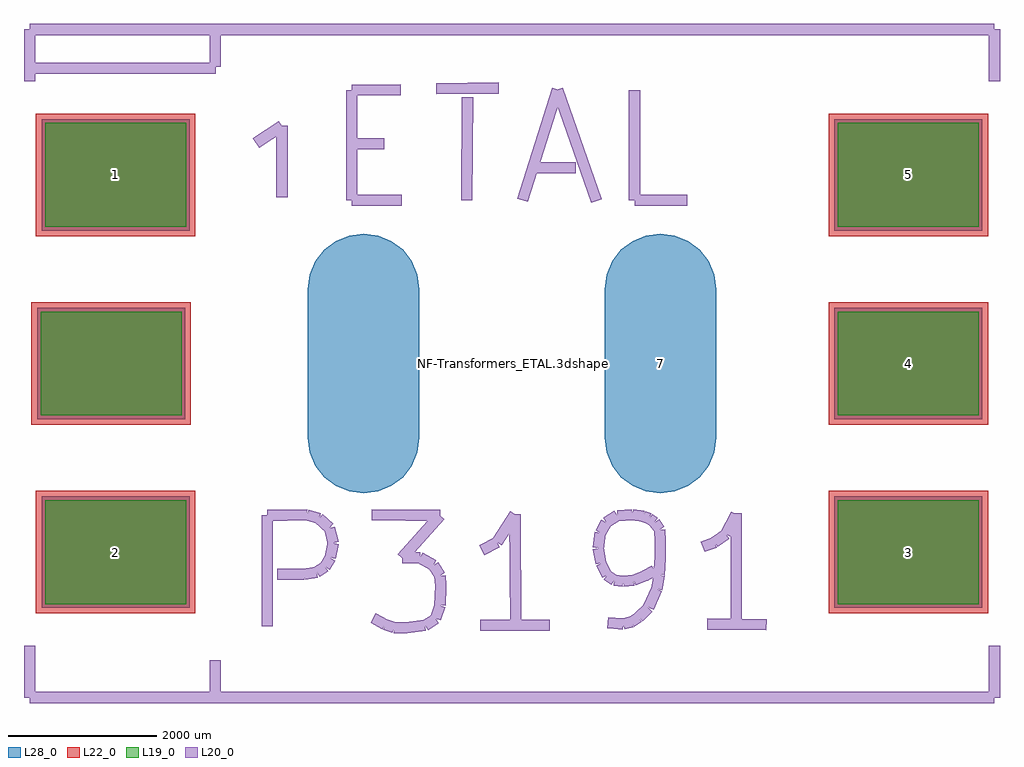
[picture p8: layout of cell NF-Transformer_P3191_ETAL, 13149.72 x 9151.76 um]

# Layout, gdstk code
import gdstk
lib = gdstk.Library(unit=1e-6, precision=1e-09)
def R(c, l, rs):  # rectangles x0, y0, x1, y1
    for r in rs: c.add(gdstk.rectangle(r[:2], r[2:], *l))
def A(c, l, x, y, w, h, nx, ny, dx, dy):  # array of equal rectangles
    R(c, l, [(x+i*dx, y+j*dy, x+i*dx+w, y+j*dy+h) for i in range(nx) for j in range(ny)])
def P(c, l, *ps):  # polygons
    for p in ps: c.add(gdstk.Polygon(p, *l))
L19_0 = (19, 0)
L20_0 = (20, 0)
L22_0 = (22, 0)
L28_0 = (28, 0)

nf_transformer_p3191_eta = lib.new_cell('NF-Transformer_P3191_ETAL')
A(nf_transformer_p3191_eta, L19_0, 4389.59, -3240.57, 1898.98, 1401.14, 1, 3, 0, 2540)
R(nf_transformer_p3191_eta, L19_0, [(-6288.57,-3240.57,-4389.59,-1839.43), (-6349.53,-700.57,-4450.55,700.57), (-6288.57,1839.43,-4389.59,3240.57)])
A(nf_transformer_p3191_eta, L22_0, 4264.59, -3365.57, 2148.98, 1651.14, 1, 3, 0, 2540)
R(nf_transformer_p3191_eta, L22_0, [(-6413.57,-3365.57,-4264.59,-1714.43), (-6474.53,-825.57,-4325.55,825.57), (-6413.57,1714.43,-4264.59,3365.57)])
A(nf_transformer_p3191_eta, L28_0, 4339.59, -3290.57, 1998.98, 1501.14, 1, 3, 0, 2540)
R(nf_transformer_p3191_eta, L28_0, [(-6338.57,-3290.57,-4339.59,-1789.43), (-6399.53,-750.57,-4400.55,750.57), (-6338.57,1789.43,-4339.59,3290.57)])
P(nf_transformer_p3191_eta, L28_0, [(-1998.98,-1750.06),(-1804.718,-1724.485),(-1623.695,-1649.503),(-1468.247,-1530.223),(-1348.967,-1374.775),(-1273.985,-1193.752),(-1248.41,-999.49),(-1248.41,999.49),(-1273.985,1193.752),(-1348.967,1374.775),(-1468.247,1530.223),(-1623.695,1649.503),(-1804.718,1724.485),(-1998.98,1750.06),(-2193.242,1724.485),(-2374.265,1649.503),(-2529.713,1530.223),(-2648.993,1374.775),(-2723.975,1193.752),(-2749.55,999.49),(-2749.55,-999.49),(-2723.975,-1193.752),(-2648.993,-1374.775),(-2529.713,-1530.223),(-2374.265,-1649.503),(-2193.242,-1724.485)],
  [(1998.98,-1750.06),(2193.242,-1724.485),(2374.265,-1649.503),(2529.713,-1530.223),(2648.993,-1374.775),(2723.975,-1193.752),(2749.55,-999.49),(2749.55,999.49),(2723.975,1193.752),(2648.993,1374.775),(2529.713,1530.223),(2374.265,1649.503),(2193.242,1724.485),(1998.98,1750.06),(1804.718,1724.485),(1623.695,1649.503),(1468.247,1530.223),(1348.967,1374.775),(1273.985,1193.752),(1248.41,999.49),(1248.41,-999.49),(1273.985,-1193.752),(1348.967,-1374.775),(1468.247,-1530.223),(1623.695,-1649.503),(1804.718,-1724.485)])
nf_transformer_p3191_eta.add(gdstk.FlexPath([(-6499.86,-4500.88),(6499.86,-4500.88)], 149.998, ends="flush", simple_path=True, layer=20, datatype=0))  # L20_0
nf_transformer_p3191_eta.add(gdstk.FlexPath([(6499.86,4500.88),(-6499.86,4500.88)], 149.998, ends="flush", simple_path=True, layer=20, datatype=0))  # L20_0
nf_transformer_p3191_eta.add(gdstk.FlexPath([(6499.86,4500.88),(6499.86,3799.84)], 149.998, ends="flush", simple_path=True, layer=20, datatype=0))  # L20_0
nf_transformer_p3191_eta.add(gdstk.FlexPath([(6499.86,-3799.84),(6499.86,-4500.88)], 149.998, ends="flush", simple_path=True, layer=20, datatype=0))  # L20_0
nf_transformer_p3191_eta.add(gdstk.FlexPath([(-6499.86,-3799.84),(-6499.86,-4500.88)], 149.998, ends="flush", simple_path=True, layer=20, datatype=0))  # L20_0
nf_transformer_p3191_eta.add(gdstk.FlexPath([(-6499.86,4500.88),(-6499.86,3799.84)], 149.998, ends="flush", simple_path=True, layer=20, datatype=0))  # L20_0
nf_transformer_p3191_eta.add(gdstk.FlexPath([(-2159,2199.64),(-1488.44,2199.64)], 149.998, ends="flush", simple_path=True, layer=20, datatype=0))  # L20_0
nf_transformer_p3191_eta.add(gdstk.FlexPath([(-2159,3680.46),(-2159,2199.64)], 149.998, ends="flush", simple_path=True, layer=20, datatype=0))  # L20_0
nf_transformer_p3191_eta.add(gdstk.FlexPath([(-1498.6,3690.62),(-2159,3680.46)], 149.998, ends="flush", simple_path=True, layer=20, datatype=0))  # L20_0
nf_transformer_p3191_eta.add(gdstk.FlexPath([(-2128.52,2959.1),(-1719.58,2959.1)], 149.998, ends="flush", simple_path=True, layer=20, datatype=0))  # L20_0
nf_transformer_p3191_eta.add(gdstk.FlexPath([(-1018.54,3700.78),(-177.8,3710.94)], 149.998, ends="flush", simple_path=True, layer=20, datatype=0))  # L20_0
nf_transformer_p3191_eta.add(gdstk.FlexPath([(-609.6,2199.64),(-599.44,3589.02)], 149.998, ends="flush", simple_path=True, layer=20, datatype=0))  # L20_0
nf_transformer_p3191_eta.add(gdstk.FlexPath([(612.14,3690.62),(1140.46,2189.48)], 149.998, ends="flush", simple_path=True, layer=20, datatype=0))  # L20_0
nf_transformer_p3191_eta.add(gdstk.FlexPath([(142.24,2199.64),(612.14,3690.62)], 149.998, ends="flush", simple_path=True, layer=20, datatype=0))  # L20_0
nf_transformer_p3191_eta.add(gdstk.FlexPath([(320.04,2639.06),(861.06,2639.06)], 149.998, ends="flush", simple_path=True, layer=20, datatype=0))  # L20_0
nf_transformer_p3191_eta.add(gdstk.FlexPath([(1651,2199.64),(2362.2,2199.64)], 149.998, ends="flush", simple_path=True, layer=20, datatype=0))  # L20_0
nf_transformer_p3191_eta.add(gdstk.FlexPath([(1651,3680.46),(1651,2199.64)], 149.998, ends="flush", simple_path=True, layer=20, datatype=0))  # L20_0
nf_transformer_p3191_eta.add(gdstk.FlexPath([(-2799.08,-2837.18),(-3159.76,-2837.18)], 149.998, ends="flush", simple_path=True, layer=20, datatype=0))  # L20_0
nf_transformer_p3191_eta.add(gdstk.FlexPath([(-2628.9,-2809.24),(-2799.08,-2837.18)], 149.998, ends="flush", simple_path=True, layer=20, datatype=0))  # L20_0
nf_transformer_p3191_eta.add(gdstk.FlexPath([(-2519.68,-2738.12),(-2628.9,-2809.24)], 149.998, ends="flush", simple_path=True, layer=20, datatype=0))  # L20_0
nf_transformer_p3191_eta.add(gdstk.FlexPath([(-2448.56,-2618.74),(-2519.68,-2738.12)], 149.998, ends="flush", simple_path=True, layer=20, datatype=0))  # L20_0
nf_transformer_p3191_eta.add(gdstk.FlexPath([(-2410.46,-2418.08),(-2448.56,-2618.74)], 149.998, ends="flush", simple_path=True, layer=20, datatype=0))  # L20_0
nf_transformer_p3191_eta.add(gdstk.FlexPath([(-2458.72,-2217.42),(-2410.46,-2418.08)], 149.998, ends="flush", simple_path=True, layer=20, datatype=0))  # L20_0
nf_transformer_p3191_eta.add(gdstk.FlexPath([(-2598.42,-2087.88),(-2458.72,-2217.42)], 149.998, ends="flush", simple_path=True, layer=20, datatype=0))  # L20_0
nf_transformer_p3191_eta.add(gdstk.FlexPath([(-2758.44,-2039.62),(-2598.42,-2087.88)], 149.998, ends="flush", simple_path=True, layer=20, datatype=0))  # L20_0
nf_transformer_p3191_eta.add(gdstk.FlexPath([(-3299.46,-2047.24),(-2758.44,-2039.62)], 149.998, ends="flush", simple_path=True, layer=20, datatype=0))  # L20_0
nf_transformer_p3191_eta.add(gdstk.FlexPath([(-3299.46,-3538.22),(-3299.46,-2047.24)], 149.998, ends="flush", simple_path=True, layer=20, datatype=0))  # L20_0
nf_transformer_p3191_eta.add(gdstk.FlexPath([(-1709.42,-3517.9),(-1869.44,-3429)], 149.998, ends="flush", simple_path=True, layer=20, datatype=0))  # L20_0
nf_transformer_p3191_eta.add(gdstk.FlexPath([(-1590.04,-3558.54),(-1709.42,-3517.9)], 149.998, ends="flush", simple_path=True, layer=20, datatype=0))  # L20_0
nf_transformer_p3191_eta.add(gdstk.FlexPath([(-1419.86,-3558.54),(-1590.04,-3558.54)], 149.998, ends="flush", simple_path=True, layer=20, datatype=0))  # L20_0
nf_transformer_p3191_eta.add(gdstk.FlexPath([(-1170.94,-3528.06),(-1419.86,-3558.54)], 149.998, ends="flush", simple_path=True, layer=20, datatype=0))  # L20_0
nf_transformer_p3191_eta.add(gdstk.FlexPath([(-1028.7,-3439.16),(-1170.94,-3528.06)], 149.998, ends="flush", simple_path=True, layer=20, datatype=0))  # L20_0
nf_transformer_p3191_eta.add(gdstk.FlexPath([(-970.28,-3258.82),(-1028.7,-3439.16)], 149.998, ends="flush", simple_path=True, layer=20, datatype=0))  # L20_0
nf_transformer_p3191_eta.add(gdstk.FlexPath([(-960.12,-2997.2),(-970.28,-3258.82)], 149.998, ends="flush", simple_path=True, layer=20, datatype=0))  # L20_0
nf_transformer_p3191_eta.add(gdstk.FlexPath([(-970.28,-2857.5),(-960.12,-2997.2)], 149.998, ends="flush", simple_path=True, layer=20, datatype=0))  # L20_0
nf_transformer_p3191_eta.add(gdstk.FlexPath([(-1059.18,-2717.8),(-970.28,-2857.5)], 149.998, ends="flush", simple_path=True, layer=20, datatype=0))  # L20_0
nf_transformer_p3191_eta.add(gdstk.FlexPath([(-1239.52,-2618.74),(-1059.18,-2717.8)], 149.998, ends="flush", simple_path=True, layer=20, datatype=0))  # L20_0
nf_transformer_p3191_eta.add(gdstk.FlexPath([(-1480.82,-2618.74),(-1239.52,-2618.74)], 149.998, ends="flush", simple_path=True, layer=20, datatype=0))  # L20_0
nf_transformer_p3191_eta.add(gdstk.FlexPath([(-970.28,-2047.24),(-1480.82,-2618.74)], 149.998, ends="flush", simple_path=True, layer=20, datatype=0))  # L20_0
nf_transformer_p3191_eta.add(gdstk.FlexPath([(-1889.76,-2039.62),(-970.28,-2047.24)], 149.998, ends="flush", simple_path=True, layer=20, datatype=0))  # L20_0
nf_transformer_p3191_eta.add(gdstk.FlexPath([(40.64,-2029.46),(50.8,-3528.06)], 149.998, ends="flush", simple_path=True, layer=20, datatype=0))  # L20_0
nf_transformer_p3191_eta.add(gdstk.FlexPath([(-200.66,-2407.92),(40.64,-2029.46)], 149.998, ends="flush", simple_path=True, layer=20, datatype=0))  # L20_0
nf_transformer_p3191_eta.add(gdstk.FlexPath([(-408.94,-2517.14),(-200.66,-2407.92)], 149.998, ends="flush", simple_path=True, layer=20, datatype=0))  # L20_0
nf_transformer_p3191_eta.add(gdstk.FlexPath([(-429.26,-3528.06),(510.54,-3528.06)], 149.998, ends="flush", simple_path=True, layer=20, datatype=0))  # L20_0
nf_transformer_p3191_eta.add(gdstk.FlexPath([(-4000.5,4500.88),(-4000.5,4000.5)], 149.998, ends="flush", simple_path=True, layer=20, datatype=0))  # L20_0
nf_transformer_p3191_eta.add(gdstk.FlexPath([(-4000.5,-4500.88),(-4000.5,-4000.5)], 149.998, ends="flush", simple_path=True, layer=20, datatype=0))  # L20_0
nf_transformer_p3191_eta.add(gdstk.FlexPath([(1790.7,-2860.04),(1920.24,-2788.92)], 149.998, ends="flush", simple_path=True, layer=20, datatype=0))  # L20_0
nf_transformer_p3191_eta.add(gdstk.FlexPath([(1640.84,-2921),(1790.7,-2860.04)], 149.998, ends="flush", simple_path=True, layer=20, datatype=0))  # L20_0
nf_transformer_p3191_eta.add(gdstk.FlexPath([(1501.14,-2931.16),(1640.84,-2921)], 149.998, ends="flush", simple_path=True, layer=20, datatype=0))  # L20_0
nf_transformer_p3191_eta.add(gdstk.FlexPath([(1379.22,-2921),(1501.14,-2931.16)], 149.998, ends="flush", simple_path=True, layer=20, datatype=0))  # L20_0
nf_transformer_p3191_eta.add(gdstk.FlexPath([(1280.16,-2849.88),(1379.22,-2921)], 149.998, ends="flush", simple_path=True, layer=20, datatype=0))  # L20_0
nf_transformer_p3191_eta.add(gdstk.FlexPath([(1198.88,-2689.86),(1280.16,-2849.88)], 149.998, ends="flush", simple_path=True, layer=20, datatype=0))  # L20_0
nf_transformer_p3191_eta.add(gdstk.FlexPath([(1160.78,-2489.2),(1198.88,-2689.86)], 149.998, ends="flush", simple_path=True, layer=20, datatype=0))  # L20_0
nf_transformer_p3191_eta.add(gdstk.FlexPath([(1191.26,-2280.92),(1160.78,-2489.2)], 149.998, ends="flush", simple_path=True, layer=20, datatype=0))  # L20_0
nf_transformer_p3191_eta.add(gdstk.FlexPath([(1270,-2141.22),(1191.26,-2280.92)], 149.998, ends="flush", simple_path=True, layer=20, datatype=0))  # L20_0
nf_transformer_p3191_eta.add(gdstk.FlexPath([(1419.86,-2049.78),(1270,-2141.22)], 149.998, ends="flush", simple_path=True, layer=20, datatype=0))  # L20_0
nf_transformer_p3191_eta.add(gdstk.FlexPath([(1620.52,-2039.62),(1419.86,-2049.78)], 149.998, ends="flush", simple_path=True, layer=20, datatype=0))  # L20_0
nf_transformer_p3191_eta.add(gdstk.FlexPath([(1770.38,-2059.94),(1620.52,-2039.62)], 149.998, ends="flush", simple_path=True, layer=20, datatype=0))  # L20_0
nf_transformer_p3191_eta.add(gdstk.FlexPath([(1849.12,-2090.42),(1770.38,-2059.94)], 149.998, ends="flush", simple_path=True, layer=20, datatype=0))  # L20_0
nf_transformer_p3191_eta.add(gdstk.FlexPath([(1920.24,-2141.22),(1849.12,-2090.42)], 149.998, ends="flush", simple_path=True, layer=20, datatype=0))  # L20_0
nf_transformer_p3191_eta.add(gdstk.FlexPath([(1988.82,-2240.28),(1920.24,-2141.22)], 149.998, ends="flush", simple_path=True, layer=20, datatype=0))  # L20_0
nf_transformer_p3191_eta.add(gdstk.FlexPath([(1998.98,-2400.3),(1988.82,-2240.28)], 149.998, ends="flush", simple_path=True, layer=20, datatype=0))  # L20_0
nf_transformer_p3191_eta.add(gdstk.FlexPath([(1998.98,-2618.74),(1998.98,-2400.3)], 149.998, ends="flush", simple_path=True, layer=20, datatype=0))  # L20_0
nf_transformer_p3191_eta.add(gdstk.FlexPath([(1981.2,-2849.88),(1998.98,-2618.74)], 149.998, ends="flush", simple_path=True, layer=20, datatype=0))  # L20_0
nf_transformer_p3191_eta.add(gdstk.FlexPath([(1950.72,-3040.38),(1981.2,-2849.88)], 149.998, ends="flush", simple_path=True, layer=20, datatype=0))  # L20_0
nf_transformer_p3191_eta.add(gdstk.FlexPath([(1838.96,-3289.3),(1950.72,-3040.38)], 149.998, ends="flush", simple_path=True, layer=20, datatype=0))  # L20_0
nf_transformer_p3191_eta.add(gdstk.FlexPath([(1709.42,-3418.84),(1838.96,-3289.3)], 149.998, ends="flush", simple_path=True, layer=20, datatype=0))  # L20_0
nf_transformer_p3191_eta.add(gdstk.FlexPath([(1610.36,-3479.8),(1709.42,-3418.84)], 149.998, ends="flush", simple_path=True, layer=20, datatype=0))  # L20_0
nf_transformer_p3191_eta.add(gdstk.FlexPath([(1501.14,-3510.28),(1610.36,-3479.8)], 149.998, ends="flush", simple_path=True, layer=20, datatype=0))  # L20_0
nf_transformer_p3191_eta.add(gdstk.FlexPath([(1379.22,-3500.12),(1501.14,-3510.28)], 149.998, ends="flush", simple_path=True, layer=20, datatype=0))  # L20_0
nf_transformer_p3191_eta.add(gdstk.FlexPath([(1290.32,-3489.96),(1379.22,-3500.12)], 149.998, ends="flush", simple_path=True, layer=20, datatype=0))  # L20_0
nf_transformer_p3191_eta.add(gdstk.FlexPath([(2880.36,-2301.24),(3020.06,-2029.46)], 149.998, ends="flush", simple_path=True, layer=20, datatype=0))  # L20_0
nf_transformer_p3191_eta.add(gdstk.FlexPath([(2730.5,-2410.46),(2880.36,-2301.24)], 149.998, ends="flush", simple_path=True, layer=20, datatype=0))  # L20_0
nf_transformer_p3191_eta.add(gdstk.FlexPath([(2570.48,-2468.88),(2730.5,-2410.46)], 149.998, ends="flush", simple_path=True, layer=20, datatype=0))  # L20_0
nf_transformer_p3191_eta.add(gdstk.FlexPath([(3020.06,-2019.3),(3020.06,-3479.8)], 149.998, ends="flush", simple_path=True, layer=20, datatype=0))  # L20_0
nf_transformer_p3191_eta.add(gdstk.FlexPath([(2628.9,-3510.28),(3429,-3520.44)], 149.998, ends="flush", simple_path=True, layer=20, datatype=0))  # L20_0
nf_transformer_p3191_eta.add(gdstk.FlexPath([(-3990.34,3980.18),(-6421.12,3980.18)], 149.998, ends="flush", simple_path=True, layer=20, datatype=0))  # L20_0
nf_transformer_p3191_eta.add(gdstk.FlexPath([(-3098.8,3200.4),(-3098.8,2240.28)], 149.998, ends="flush", simple_path=True, layer=20, datatype=0))  # L20_0
nf_transformer_p3191_eta.add(gdstk.FlexPath([(-3449.32,2969.26),(-3098.8,3200.4)], 149.998, ends="flush", simple_path=True, layer=20, datatype=0))  # L20_0
nf_transformer_p3191_eta.add(gdstk.Label('NF-Transformers_ETAL.3dshapes/NF-Transformer_P3191_ETAL.wrl', (0,0), layer=12, texttype=0))
nf_transformer_p3191_eta.add(gdstk.Label('7', (1998.98,0), layer=28, texttype=0))
nf_transformer_p3191_eta.add(gdstk.Label('5', (5339.08,2540), layer=28, texttype=0))
nf_transformer_p3191_eta.add(gdstk.Label('4', (5339.08,0), layer=28, texttype=0))
nf_transformer_p3191_eta.add(gdstk.Label('3', (5339.08,-2540), layer=28, texttype=0))
nf_transformer_p3191_eta.add(gdstk.Label('2', (-5339.08,-2540), layer=28, texttype=0))
nf_transformer_p3191_eta.add(gdstk.Label('1', (-5339.08,2540), layer=28, texttype=0))
nf_transformer_p3191_eta.add(gdstk.Label('type', (0,-6499.86), layer=9, texttype=0))
nf_transformer_p3191_eta.add(gdstk.Label('devicename', (0,7000.24), layer=9, texttype=0))

lib.write_gds('NF-Transformer_P3191_ETAL.gds')
